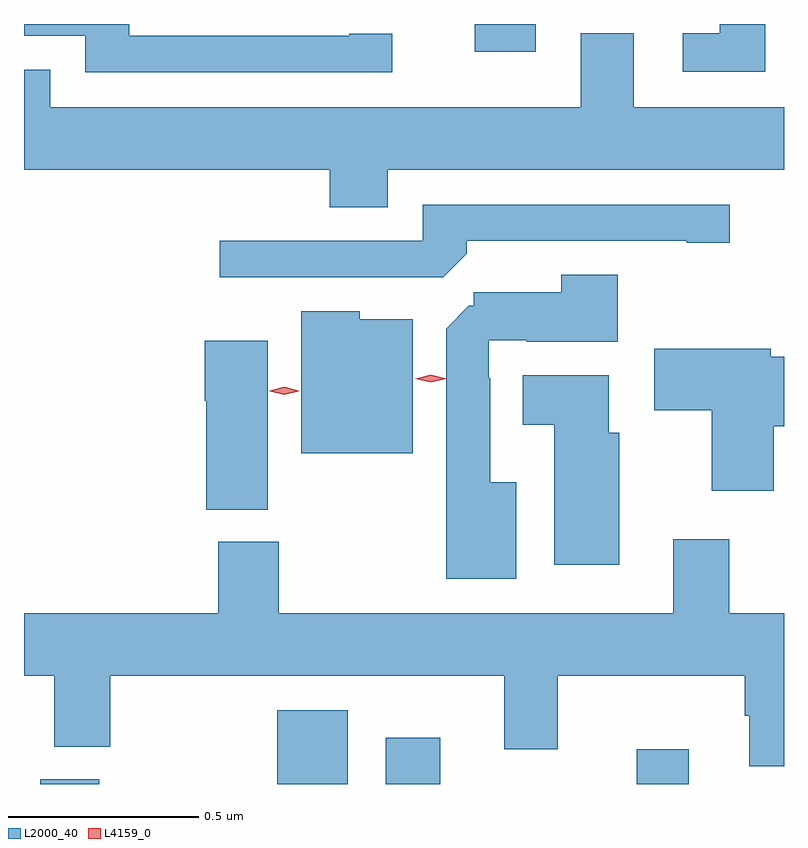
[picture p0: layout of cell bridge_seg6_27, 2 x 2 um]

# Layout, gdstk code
import gdstk
lib = gdstk.Library(unit=1e-6, precision=1e-09)
def R(c, l, rs):  # rectangles x0, y0, x1, y1
    for r in rs: c.add(gdstk.rectangle(r[:2], r[2:], *l))
def P(c, l, *ps):  # polygons
    for p in ps: c.add(gdstk.Polygon(p, *l))
L2000_40 = (2000, 40)
L4159_0 = (4159, 0)

bridge_seg6_27 = lib.new_cell('bridge_seg6_27')
R(bridge_seg6_27, L2000_40, [(1080.425,985.679,1080.58,985.692), (1081.049,985.679,1081.234,985.873), (1081.334,985.679,1081.477,985.801), (1081.995,985.679,1082.131,985.771), (1081.568,987.606,1081.729,987.679)])
P(bridge_seg6_27, L2000_40, [(1081.351,987.653),(1081.238,987.653),(1081.238,987.648),(1080.659,987.648),(1080.659,987.679),(1080.382,987.679),(1080.382,987.648),(1080.543,987.648),(1080.543,987.552),(1081.351,987.552)],
  [(1082.332,987.679),(1082.213,987.679),(1082.213,987.655),(1082.115,987.655),(1082.115,987.554),(1082.332,987.554)],
  [(1081.339,987.296),(1082.382,987.296),(1082.382,987.46),(1081.987,987.46),(1081.987,987.655),(1081.847,987.655),(1081.847,987.46),(1080.451,987.46),(1080.451,987.559),(1080.382,987.559),(1080.382,987.296),(1081.187,987.296),(1081.187,987.197),(1081.339,987.197)],
  [(1081.547,987.074),(1081.547,987.108),(1082.126,987.108),(1082.126,987.103),(1082.239,987.103),(1082.239,987.204),(1081.431,987.204),(1081.431,987.108),(1080.897,987.108),(1080.897,987.012),(1081.485,987.012)],
  [(1081.678,986.473),(1081.609,986.473),(1081.609,986.747),(1081.605,986.747),(1081.605,986.847),(1081.705,986.847),(1081.705,986.843),(1081.945,986.843),(1081.945,987.019),(1081.796,987.019),(1081.796,986.973),(1081.566,986.973),(1081.566,986.937),(1081.553,986.937),(1081.493,986.877),(1081.493,986.219),(1081.678,986.219)],
  [(1081.405,986.902),(1081.266,986.902),(1081.266,986.923),(1081.112,986.923),(1081.112,986.549),(1081.405,986.549)],
  [(1081.024,986.845),(1080.857,986.845),(1080.857,986.687),(1080.862,986.687),(1080.862,986.401),(1081.024,986.401)],
  [(1082.355,986.621),(1082.382,986.621),(1082.382,986.804),(1082.347,986.804),(1082.347,986.824),(1082.04,986.824),(1082.04,986.662),(1082.192,986.662),(1082.192,986.451),(1082.355,986.451)],
  [(1081.948,986.604),(1081.921,986.604),(1081.921,986.755),(1081.694,986.755),(1081.694,986.624),(1081.778,986.624),(1081.778,986.256),(1081.948,986.256)],
  [(1082.382,986.128),(1082.238,986.128),(1082.238,986.323),(1082.09,986.323),(1082.09,986.128),(1081.053,986.128),(1081.053,986.316),(1080.893,986.316),(1080.893,986.128),(1080.382,986.128),(1080.382,985.964),(1080.461,985.964),(1080.461,985.777),(1080.609,985.777),(1080.609,985.964),(1081.646,985.964),(1081.646,985.77),(1081.786,985.77),(1081.786,985.964),(1082.279,985.964),(1082.279,985.858),(1082.291,985.858),(1082.291,985.726),(1082.382,985.726)])
P(bridge_seg6_27, L4159_0, [(1081.067,986.704),(1081.029,986.713),(1081.029,986.714),(1081.029,986.714),(1081.067,986.724),(1081.105,986.714),(1081.105,986.714),(1081.105,986.713)],
  [(1081.453,986.736),(1081.412,986.746),(1081.412,986.746),(1081.412,986.746),(1081.453,986.756),(1081.494,986.746),(1081.494,986.746),(1081.494,986.746)])

lib.write_gds('bridge_seg6_27.gds')
